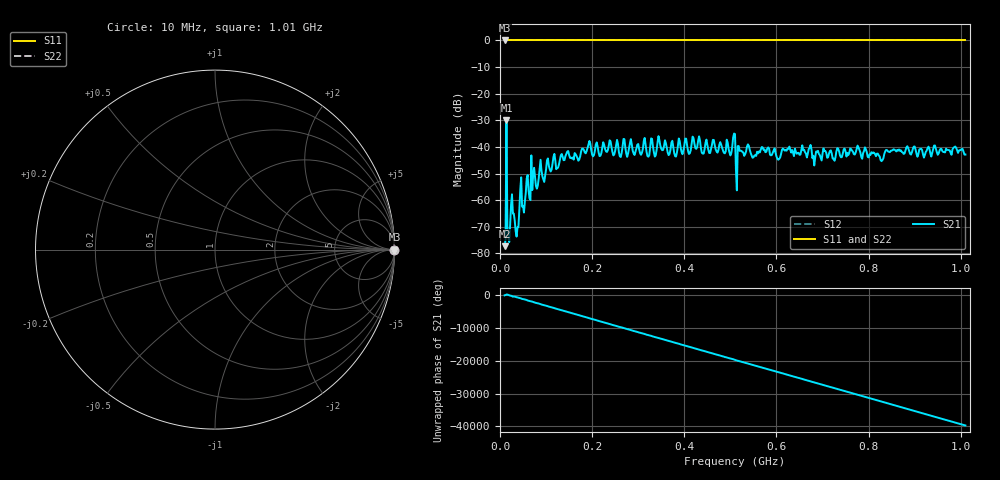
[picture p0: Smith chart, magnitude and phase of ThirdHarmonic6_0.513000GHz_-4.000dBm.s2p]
! 8/15/2025 3:39:30 PM
! C:\ANRITSUVNA\TEMP\TEMP.S2P
! CHANNEL.1
! TR.MEASUREMENT
! RAW.DATA
! RF.CORRECTION.OFF
! AVERAGING.OFF
! IF.BANDWIDTH: 5KHZ
! SWEEPTYPE:  FREQ.SWEEP(Linear)
! Reference Plane Port Info
! PORT:  PORT1  PORT2
! DISTANCE:  0  m  0  m
! TIME:  0  s  0  s
! PHASE.OFFSET:  0  deg.  0  deg.
! LOSS:  0  dB  0  dB
! REF.LOSS:  0  dB  0  dB
! REF.FREQ:  0  Hz  0  Hz
! Power Info
! POWER:  -20  dBm  -20  dBm
! EFF.POWER:  -20  dBm  -20  dBm
! SOURCE.ATTEN:  0  dB  0  dB
! TEST.ATTEN:  0  dB  0  dB
# GHZ S RI R 50.0
! FREQ.GHZ  S11RE  S11IM  S21RE  S21IM  S12RE  S12IM  S22RE  S22IM
!; PortSelection: Port_12
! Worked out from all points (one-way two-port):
!   501 points, 10 MHz to 1.01 GHz, reference 50 ohm
!   highest |S21| = -29.93 dB at 14 MHz (marker M1); lowest = -77.3 dB at 10 MHz (marker M2)
!   lowest |S11| = 0.0 dB at 10 MHz (marker M3)
!   |S11| at or under -10 dB: nowhere
!   |S22| runs from 0.0 to 0.0 dB; largest |S21 - S12| = 1
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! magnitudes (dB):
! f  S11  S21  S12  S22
! 10 MHz  0.0  -77.3  0.0  0.0
! 14 MHz  0.0  -29.9  0.0  0.0
! 18 MHz  0.0  -73.9  0.0  0.0
! 20 MHz  0.0  -75.8  0.0  0.0
! 28 MHz  0.0  -65.0  0.0  0.0
! 36 MHz  0.0  -73.7  0.0  0.0
! 46 MHz  0.0  -51.4  0.0  0.0
! 52 MHz  0.0  -64.6  0.0  0.0
! 72 MHz  0.0  -50.6  0.0  0.0
! 80 MHz  0.0  -55.7  0.0  0.0
! 104 MHz  0.0  -44.3  0.0  0.0
! 178 MHz  0.0  -40.7  0.0  0.0
! 322 MHz  0.0  -43.7  0.0  0.0
! 344 MHz  0.0  -35.9  0.0  0.0
! 380 MHz  0.0  -43.5  0.0  0.0
! 420 MHz  0.0  -36.7  0.0  0.0
! 500 MHz  0.0  -43.2  0.0  0.0
! 506 MHz  0.0  -36.4  0.0  0.0
! 510 MHz  0.0  -35.2  0.0  0.0
! 678 MHz  0.0  -44.2  0.0  0.0
! 844 MHz  0.0  -41.8  0.0  0.0
! 1.01 GHz  0.0  -42.9  0.0  0.0
